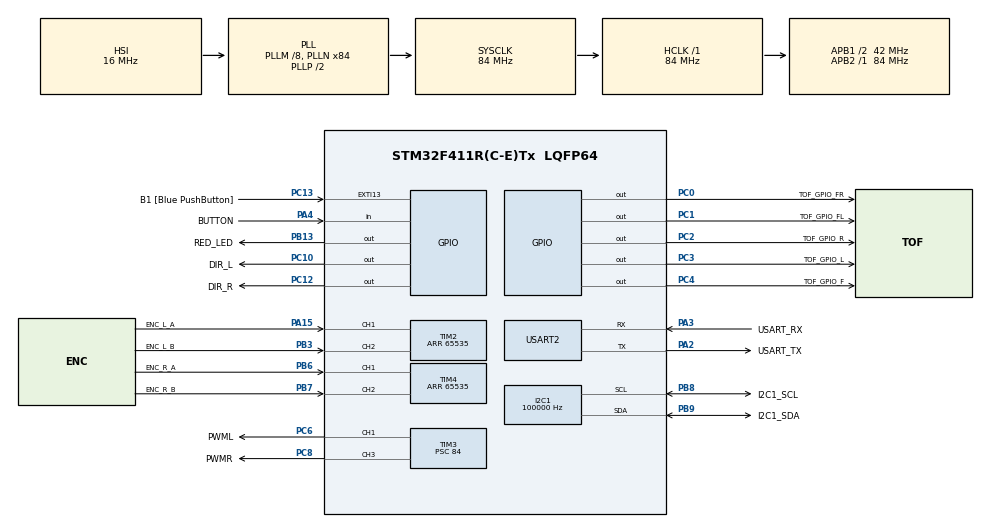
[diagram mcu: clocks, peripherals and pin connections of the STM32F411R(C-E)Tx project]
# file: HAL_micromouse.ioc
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I2C1.ClockSpeed=100000
Mcu.Family=STM32F4
Mcu.Name=STM32F411R(C-E)Tx
Mcu.Package=LQFP64
NVIC.PriorityGroup=NVIC_PRIORITYGROUP_0
NVIC.TIM1_UP_TIM10_IRQn=true\:0\:0\:false\:false\:true\:true\:true
PA13.GPIO_Label=TMS
PA13.Mode=Serial_Wire
PA13.Signal=SYS_JTMS-SWDIO
PA14.GPIO_Label=TCK
PA14.Mode=Serial_Wire
PA14.Signal=SYS_JTCK-SWCLK
PA15.GPIO_Label=ENC_L_A
PA15.Signal=S_TIM2_CH1_ETR
PA2.GPIO_Label=USART_TX
PA2.Mode=Asynchronous
PA2.Signal=USART2_TX
PA3.GPIO_Label=USART_RX
PA3.Mode=Asynchronous
PA3.Signal=USART2_RX
PA4.GPIO_Label=BUTTON
PA4.GPIO_PuPd=GPIO_PULLDOWN
PA4.Signal=GPIO_Input
PB13.GPIO_Label=RED_LED
PB13.Signal=GPIO_Output
PB3.GPIO_Label=ENC_L_B
PB3.Signal=S_TIM2_CH2
PB6.GPIO_Label=ENC_R_A
PB6.Signal=S_TIM4_CH1
PB7.GPIO_Label=ENC_R_B
PB7.Signal=S_TIM4_CH2
PB8.GPIO_Label=I2C1_SCL
PB8.Mode=I2C
PB8.Signal=I2C1_SCL
PB9.GPIO_Label=I2C1_SDA
PB9.Mode=I2C
PB9.Signal=I2C1_SDA
PC0.GPIO_Label=TOF_GPIO_FR
PC0.Signal=GPIO_Output
PC1.GPIO_Label=TOF_GPIO_FL
PC1.Signal=GPIO_Output
PC10.GPIO_Label=DIR_L
PC10.Signal=GPIO_Output
PC12.GPIO_Label=DIR_R
PC12.Signal=GPIO_Output
PC13-ANTI_TAMP.GPIO_Label=B1 [Blue PushButton]
PC13-ANTI_TAMP.GPIO_ModeDefaultEXTI=GPIO_MODE_IT_FALLING
PC13-ANTI_TAMP.Signal=GPXTI13
PC2.GPIO_Label=TOF_GPIO_R
PC2.Signal=GPIO_Output
PC3.GPIO_Label=TOF_GPIO_L
PC3.Signal=GPIO_Output
PC4.GPIO_Label=TOF_GPIO_F
PC4.Signal=GPIO_Output
PC6.GPIO_Label=PWML
PC6.Signal=S_TIM3_CH1
PC8.GPIO_Label=PWMR
PC8.Signal=S_TIM3_CH3
ProjectManager.HeapSize=0x200
ProjectManager.StackSize=0x400
ProjectManager.TargetToolchain=STM32CubeIDE
RCC.48MHZClocksFreq_Value=42000000
RCC.AHBFreq_Value=84000000
RCC.APB1CLKDivider=RCC_HCLK_DIV2
RCC.APB1Freq_Value=42000000
RCC.APB1TimFreq_Value=84000000
RCC.APB2Freq_Value=84000000
RCC.APB2TimFreq_Value=84000000
RCC.CortexFreq_Value=84000000
RCC.FLatency-AdvancedSettings=FLASH_LATENCY_2
RCC.HCLKFreq_Value=84000000
RCC.HSE_VALUE=8000000
RCC.HSI_VALUE=16000000
RCC.LSE_VALUE=32768
RCC.PLLM=8
RCC.PLLN=84
RCC.SYSCLKFreq_VALUE=84000000
RCC.SYSCLKSource=RCC_SYSCLKSOURCE_PLLCLK
RCC.VCOOutputFreq_Value=168000000
SH.S_TIM2_CH1_ETR.0=TIM2_CH1,Encoder_Interface
SH.S_TIM2_CH2.0=TIM2_CH2,Encoder_Interface
SH.S_TIM3_CH1.0=TIM3_CH1,PWM Generation1 CH1
SH.S_TIM3_CH3.0=TIM3_CH3,PWM Generation3 CH3
SH.S_TIM4_CH1.0=TIM4_CH1,Encoder_Interface
SH.S_TIM4_CH2.0=TIM4_CH2,Encoder_Interface
TIM10.Period=999
TIM10.Prescaler=83
TIM2.EncoderMode=TIM_ENCODERMODE_TI12
TIM2.IC1Filter=15
TIM2.IC1Polarity=TIM_ICPOLARITY_FALLING
TIM2.IC2Filter=15
TIM2.Period=65535
TIM3.Channel-PWM\ Generation1\ CH1=TIM_CHANNEL_1
TIM3.Channel-PWM\ Generation3\ CH3=TIM_CHANNEL_3
TIM3.Period=999
TIM3.Prescaler=84
TIM4.EncoderMode=TIM_ENCODERMODE_TI12
TIM4.IC1Filter=15
TIM4.IC1Polarity=TIM_ICPOLARITY_FALLING
TIM4.IC2Filter=15
TIM4.IC2Polarity=TIM_ICPOLARITY_RISING
TIM4.Period=65535
USART2.VirtualMode=VM_ASYNC
VP_TIM10_VS_ClockSourceINT.Mode=Enable_Timer
VP_TIM3_VS_ClockSourceINT.Mode=Internal
board=NUCLEO-F411RE

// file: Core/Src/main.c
/* USER CODE BEGIN Header */
/**
 ******************************************************************************
 * @file           : main.c
 * @brief          : Main program body
 ******************************************************************************
 * @attention
 *
 * <h2><center>&copy; Copyright (c) 2020 STMicroelectronics.
 * All rights reserved.</center></h2>
 *
 * This software component is licensed by ST under BSD 3-Clause license,
 * the "License"; You may not use this file except in compliance with the
 * License. You may obtain a copy of the License at:
 *                        opensource.org/licenses/BSD-3-Clause
 *
 ******************************************************************************
 */
/* USER CODE END Header */

#include "main.h"
#include "i2c.h"
#include "tim.h"
#include "usart.h"
#include "gpio.h"

/* USER CODE BEGIN Includes */

#include "stdio.h"
#include "VL53L0x.h"
#include "../../MPU6050/mpu6050.h"
#include "move.h"
#include "encoders.h"
#include "SoftwareCRC.h"
#include "mapping.h"
#include "FloodFill.h"

/* USER CODE END Includes */

/* USER CODE BEGIN PD */
//wyższa matematyka
#define PI 3.14159265359

#define CELL_DIST 168

//interwały zdarzań w pętli main w ms
#define DIST_READ_INTERVAL 100
#define BLINK_INTERVAL 500

//makra do obsługi diody LED
#define LED_ON()   HAL_GPIO_WritePin(GPIOB, RED_LED_Pin, 0)
#define LED_OFF()  HAL_GPIO_WritePin(GPIOB, RED_LED_Pin, 1)
#define LED_TOGGLE() HAL_GPIO_TogglePin(GPIOB, RED_LED_Pin)

//makro do obsługi przycisku
#define BUTTON_STATE() HAL_GPIO_ReadPin(BUTTON_GPIO_Port, BUTTON_Pin)

/* USER CODE END PD */

/* USER CODE BEGIN PV */

//zmienne dla regulatora PID
volatile float eps = 0.0f;
volatile uint8_t pidChangedFlag = 0;

//rotacja robota
float rotx = 0;

//zmienne dla MPU6050
float ax = 0, ay = 0, az = 0, gx = 0, gy = 0, gz = 0, temperature = 0;

/* USER CODE END PV */

void SystemClock_Config(void);

/* USER CODE BEGIN 0 */

//przekierowanie printf dla portu szeregowego
int _write(int file, char *ptr, int len)
{
	HAL_UART_Transmit(&huart2, (uint8_t*) ptr, len, 50);
	return len;
}

//timer dla regulatora PID
void HAL_TIM_PeriodElapsedCallback(TIM_HandleTypeDef *htim)
{
	if (htim->Instance == TIM10)
	{
		eps = leftTotal - rightTotal;
		pidChangedFlag = 1;
	}
}

/* USER CODE END 0 */

int main(void)
{

	/* MCU Configuration--------------------------------------------------------*/

	/* Reset of all peripherals, Initializes the Flash interface and the Systick. */
	HAL_Init();

	/* Configure the system clock */
	SystemClock_Config();

	/* Initialize all configured peripherals */
	MX_GPIO_Init();
	MX_USART2_UART_Init();
	MX_I2C1_Init();
	MX_TIM2_Init();
	MX_TIM3_Init();
	MX_TIM4_Init();
	MX_TIM10_Init();
	/* USER CODE BEGIN 2 */

	//uruchomienie timera dla PID
	HAL_TIM_Base_Start_IT(&htim10);

	//zmienne lokalne funkcji main - ustawione jako lokalne by były od razu widoczne w debuggerze
	/************************************************************************/

	DirType dir = N;
	DirType nextDir;
	uint8_t posx = 0;
	uint8_t posy = 0;

	//zmienne do podglądu enkoderów
	uint32_t prawy = 0;
	uint32_t lewy = 0;

	//ramka danych na WDS
	char frameWDS[50] =	{0};

	//zmienne do testów VL53L0x
	volatile int dist_F_tmp;
	volatile int dist_L_tmp;
	volatile int dist_R_tmp;
	volatile int dist_FL_tmp;
	volatile int dist_FR_tmp;

	//zmienne do odmierzania interwałów czasowych za pomocą systick
	uint32_t time_ToF = 0;
	uint32_t time_blink = 0;
	uint32_t time_gyro = 0;

	/************************************************************************/

	//zapal LED
	LED_OFF();

	//inicjalizacja czujników ToF
	initMicromouseVL53L0x();

	//inicjalizacja MPU6050

	MPU6050_Init(&hi2c1);
	MPU6050_SetInterruptMode(MPU6050_INTMODE_ACTIVEHIGH);
	MPU6050_SetInterruptDrive(MPU6050_INTDRV_PUSHPULL);
	MPU6050_SetInterruptLatch(MPU6050_INTLATCH_WAITCLEAR);
	MPU6050_SetInterruptLatchClear(MPU6050_INTCLEAR_STATUSREAD);
	MPU6050_SetIntEnableRegister(0);
	MPU6050_SetDlpf(MPU6050_DHPF_5);
	MPU6050_SetFullScaleGyroRange(MPU6050_GYRO_FS_1000);

	//inicjalizacja PWM dla silników
	motorsInit();

	//inicjalizacja enkoderów
	HAL_TIM_Encoder_Start(&htim2, TIM_CHANNEL_ALL);
	HAL_TIM_Encoder_Start(&htim4, TIM_CHANNEL_ALL);

	//inicjalizacja PID do jazdy na wprost
	pidInit(&pidSt,PID_ST_PARAM_KP, PID_ST_PARAM_KI, PID_ST_PARAM_KD, PID_DT, PID_ST_WINDUP);
	//inicjalizacja PID do skrętów
	pidInit(&pidAngle,PID_ANGLE_PARAM_KP, PID_ANGLE_PARAM_KI, PID_ANGLE_PARAM_KD, PID_DT, PID_ANGLE_WINDUP);

	HAL_Delay(1000);

	/* USER CODE END 2 */

	/* Infinite loop */
	/* USER CODE BEGIN WHILE */

	while (1)
	{
		uint32_t czas1 = HAL_GetTick();
		//odczyt danych z mpu6050
		//MPU6050_GetAccelerometerScaled(&ax, &ay, &az);
		MPU6050_GetGyroscopeScaled(&gx, &gy, &gz);
		//temperature = MPU6050_GetTemperatureCelsius();

		//odczyt z enkoderów
		encRead();
		prawy = leftTotal;
		lewy = rightTotal;

		////////////////////////////////////////////////////
		//tutaj test jazdy i obrotu
		static int x = 1;

		if (x == 0)
		{
			printf("posx = %d, posy = %d\n", posx, posy);

			nextDir = floodFill(posx, posy, dir);
			printf("dir = %d, nextDir = %d\n", dir, nextDir);
			if(dir == nextDir)
			{
				while(move_forward(CELL_DIST, 200) == 0);
				if(nextDir == N)
					posy++;
				if(nextDir == S)
					posy--;
				if(nextDir == E)
					posx++;
				if(nextDir == W)
					posx--;
			}
			else if((dir == N && nextDir == E) || (dir == E && nextDir == S) || (dir == S && nextDir == W ) || (dir == W && nextDir == N))
			{
				gx = 0;
				rotx = 0;
				//while(turn_pid(rotx, -90000) == 0)
				while(turn_right(rotx, -90000, 120) == 0)
				{
					MPU6050_GetGyroscopeScaled(&gx, &gy, &gz);
					if(gx > 2 || gx < -2)
					{
						rotx += gx*(HAL_GetTick() - time_gyro);
					}
					time_gyro = HAL_GetTick();
					HAL_Delay(10);

				}
				while(move_forward(CELL_DIST, 200) == 0);
				dir = nextDir;

				if(nextDir == N)
					posy++;
				if(nextDir == S)
					posy--;
				if(nextDir == E)
					posx++;
				if(nextDir == W)
					posx--;
			}
			else if((dir == N && nextDir == W) || (dir == W && nextDir == S) || (dir == S && nextDir == E ) || (dir == E && nextDir == N))
			{
				gx = 0;
				rotx = 0;
				//while(turn_pid(rotx, 90000) == 0)
				while(turn_left(rotx, 90000, 120) == 0)
				{
					MPU6050_GetGyroscopeScaled(&gx, &gy, &gz);
					if(gx > 2 || gx < -2)
					{
						rotx += gx*(HAL_GetTick() - time_gyro);
					}
					time_gyro = HAL_GetTick();
					HAL_Delay(10);

				}
				while(move_forward(CELL_DIST, 200) == 0);
				dir = nextDir;

				if(nextDir == N)
					posy++;
				if(nextDir == S)
					posy--;
				if(nextDir == E)
					posx++;
				if(nextDir == W)
					posx--;
			}
			else if((dir == N && nextDir == S) || (dir == E && nextDir == W) || (dir == S && nextDir == N ) || (dir == W && nextDir == E))
			{
				gx = 0;
				rotx = 0;
				//while(turn_pid(rotx, -180000) == 0)
				while(turn_right(rotx, -180000, 120) == 0)
				{
					MPU6050_GetGyroscopeScaled(&gx, &gy, &gz);
					if(gx > 2 || gx < -2)
					{
						rotx += gx*(HAL_GetTick() - time_gyro);
					}
					time_gyro = HAL_GetTick();
					HAL_Delay(10);

				}
				while(move_forward(CELL_DIST, 200) == 0);
				dir = nextDir;

				if(nextDir == N)
					posy++;
				if(nextDir == S)
					posy--;
				if(nextDir == E)
					posx++;
				if(nextDir == W)
					posx--;
			}
			else
			{
				LED_ON();
				printf("dir = %d, nextDir = %d\n", dir, nextDir);
			}
			if(posx == LABIRYNTH_SIZE-1 && posy == LABIRYNTH_SIZE-1)
			{
				x = 1;

			}
		}

		if(BUTTON_STATE() == 1)
		{
			HAL_Delay(500);
			x = 0;
		}

		// koniec testu jazdy
		////////////////////////////////////////////////////

		//testowy odczyt z czujników ToF
		if ((HAL_GetTick() - time_ToF) >= DIST_READ_INTERVAL)
		{
			dist_F_tmp = ToF_readRangeContinuousMillimeters(&ToF_F);
			dist_R_tmp = ToF_readRangeContinuousMillimeters(&ToF_R);
			dist_L_tmp = ToF_readRangeContinuousMillimeters(&ToF_L);
			dist_FL_tmp = ToF_readRangeContinuousMillimeters(&ToF_FL);
			dist_FR_tmp = ToF_readRangeContinuousMillimeters(&ToF_FR);
			time_ToF = HAL_GetTick();
		}

		//miganie diodą - nieblokujące
//		if ((HAL_GetTick() - time_blink) >= BLINK_INTERVAL)
//		{
//			LED_TOGGLE();
//			time_blink = HAL_GetTick();
//		}

		//inkrementacja obrotu w zmierzonym oknie czasowym
		if(gx > 2 || gx < -2)
		{
			rotx += gx*(HAL_GetTick() - time_gyro);
		}
		time_gyro = HAL_GetTick();

		//generowanie ramki danych na WDS
		//makeFrame(frameString,left_encoder,right_encoder,ToF_L,ToF_FL,ToF_F,ToF_FR,ToF_R);
		//tak powinna wyglądać przykładowa gotowa ramka -> "X_00012_00034_0023_0234_0433_3444_0003_1886576405"
		makeFrame(frameWDS, lewy, prawy, dist_L_tmp, dist_FL_tmp, dist_F_tmp, dist_FR_tmp, dist_R_tmp);
		//wysłanie ramki
		printf("%s\n", frameWDS);

		//pomiar czasu trwania całej pętli
		uint32_t czas2 = HAL_GetTick() - czas1;

		HAL_Delay(0);

		/* USER CODE END WHILE */

	}
}

void SystemClock_Config(void)
{
	RCC_OscInitTypeDef RCC_OscInitStruct =
	{ 0 };
	RCC_ClkInitTypeDef RCC_ClkInitStruct =
	{ 0 };

	/** Configure the main internal regulator output voltage
	 */
	__HAL_RCC_PWR_CLK_ENABLE();
	__HAL_PWR_VOLTAGESCALING_CONFIG(PWR_REGULATOR_VOLTAGE_SCALE1);
	/** Initializes the CPU, AHB and APB busses clocks
	 */
	RCC_OscInitStruct.OscillatorType = RCC_OSCILLATORTYPE_HSI;
	RCC_OscInitStruct.HSIState = RCC_HSI_ON;
	RCC_OscInitStruct.HSICalibrationValue = RCC_HSICALIBRATION_DEFAULT;
	RCC_OscInitStruct.PLL.PLLState = RCC_PLL_ON;
	RCC_OscInitStruct.PLL.PLLSource = RCC_PLLSOURCE_HSI;
	RCC_OscInitStruct.PLL.PLLM = 8;
	RCC_OscInitStruct.PLL.PLLN = 84;
	RCC_OscInitStruct.PLL.PLLP = RCC_PLLP_DIV2;
	RCC_OscInitStruct.PLL.PLLQ = 4;
	if (HAL_RCC_OscConfig(&RCC_OscInitStruct) != HAL_OK)
	{
		Error_Handler();
	}
	/** Initializes the CPU, AHB and APB busses clocks
	 */
	RCC_ClkInitStruct.ClockType = RCC_CLOCKTYPE_HCLK | RCC_CLOCKTYPE_SYSCLK
			| RCC_CLOCKTYPE_PCLK1 | RCC_CLOCKTYPE_PCLK2;
	RCC_ClkInitStruct.SYSCLKSource = RCC_SYSCLKSOURCE_PLLCLK;
	RCC_ClkInitStruct.AHBCLKDivider = RCC_SYSCLK_DIV1;
	RCC_ClkInitStruct.APB1CLKDivider = RCC_HCLK_DIV2;
	RCC_ClkInitStruct.APB2CLKDivider = RCC_HCLK_DIV1;

	if (HAL_RCC_ClockConfig(&RCC_ClkInitStruct, FLASH_LATENCY_2) != HAL_OK)
	{
		Error_Handler();
	}
}

void Error_Handler(void)
{
}

/************************ (C) COPYRIGHT STMicroelectronics *****END OF FILE****/
